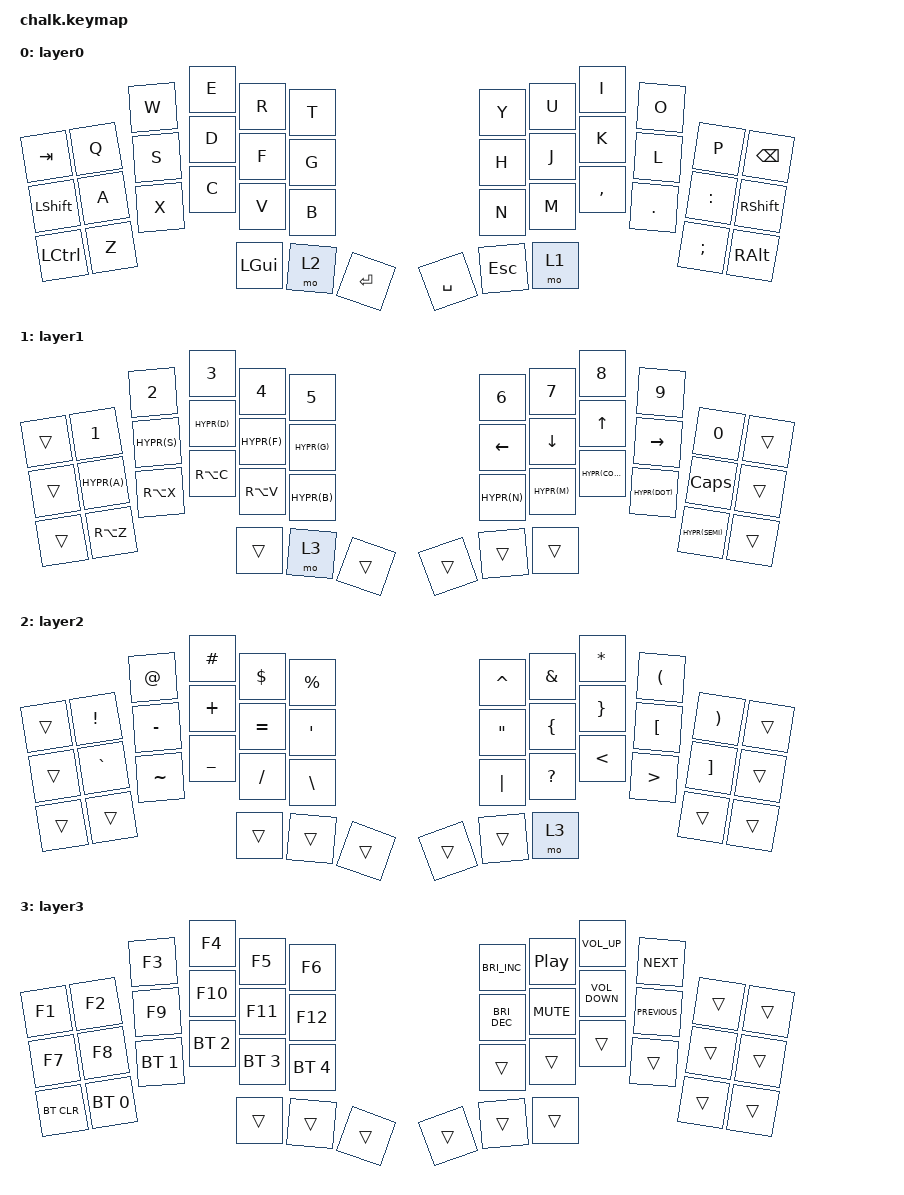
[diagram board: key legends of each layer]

  /*
  * Copyright (c) 2020 The ZMK Contributors
  *
  * SPDX-License-Identifier: MIT
  */

  #include <behaviors.dtsi>
  #include <dt-bindings/zmk/keys.h>
  #include <dt-bindings/zmk/bt.h>
  #include <dt-bindings/zmk/ext_power.h>

#define HYPR(k) LS(LC(LA(LG(k))))

  / {
    keymap {
      compatible = "zmk,keymap";
  layer0 {
          bindings = <
          &kp TAB &kp Q &kp W &kp E &kp R &kp T              &kp Y &kp U &kp I &kp O &kp P &kp BACKSPACE
          &kp LEFT_SHIFT &kp A &kp S &kp D &kp F &kp G       &kp H &kp J &kp K &kp L &kp COLON &kp RIGHT_SHIFT 
          &kp LEFT_CONTROL &kp Z &kp X &kp C &kp V &kp B     &kp N &kp M &kp COMMA &kp DOT &kp SEMICOLON &kp RIGHT_ALT 
          &kp LEFT_GUI &mo 2 &kp ENTER                       &kp SPACE &kp ESCAPE &mo 1
          >;
        };layer1 {
          bindings = <
          &trans &kp N1 &kp N2 &kp N3 &kp N4 &kp N5          &kp N6 &kp N7 &kp N8 &kp N9 &kp N0 &trans 
          &trans &kp HYPR(A) &kp HYPR(S) &kp HYPR(D) &kp HYPR(F) &kp HYPR(G) 
                             &kp LEFT &kp DOWN &kp UP &kp RIGHT &kp CAPSLOCK &trans 
          &trans &kp RA(Z) &kp RA(X) &kp RA(C) &kp RA(V) &kp HYPR(B) 
                             &kp HYPR(N) &kp HYPR(M) &kp HYPR(COMMA) &kp HYPR(DOT) &kp HYPR(SEMI) &trans 
          &trans &mo 3 &trans                                &trans &trans &trans
          >;
        };layer2 {
          bindings = <
          &trans &kp EXCL &kp AT &kp HASH &kp DLLR &kp PRCNT
                       &kp CARET &kp AMPS &kp ASTRK &kp LPAR &kp RPAR &trans 
          &trans &kp GRAVE &kp MINUS &kp PLUS &kp EQUAL &kp SINGLE_QUOTE 
                       &kp DQT &kp LBRC &kp RBRC &kp LBKT &kp RBKT &trans 
          &trans &trans &kp TILDE &kp UNDER &kp SLASH &kp BACKSLASH 
                       &kp PIPE &kp QMARK &kp LT &kp GT &trans &trans 
          &trans &trans &trans                               &trans &trans &mo 3
          >;
        };layer3 {
          bindings = <
          &kp F1 &kp F2 &kp F3 &kp F4 &kp F5 &kp F6 
                          &kp C_BRIGHTNESS_INC &kp C_PLAY_PAUSE &kp C_VOLUME_UP &kp C_NEXT &trans &trans 
          &kp F7 &kp F8 &kp F9 &kp F10 &kp F11 &kp F12 
                          &kp C_BRIGHTNESS_DEC &kp C_MUTE &kp C_VOLUME_DOWN &kp C_PREVIOUS &trans &trans 
          &bt BT_CLR &bt BT_SEL 0 &bt BT_SEL 1 &bt BT_SEL 2 &bt BT_SEL 3 &bt BT_SEL 4    &trans &trans &trans &trans &trans &trans 
          &trans &trans &trans                                       &trans &trans &trans
          >;
        };
    };
  };
  
